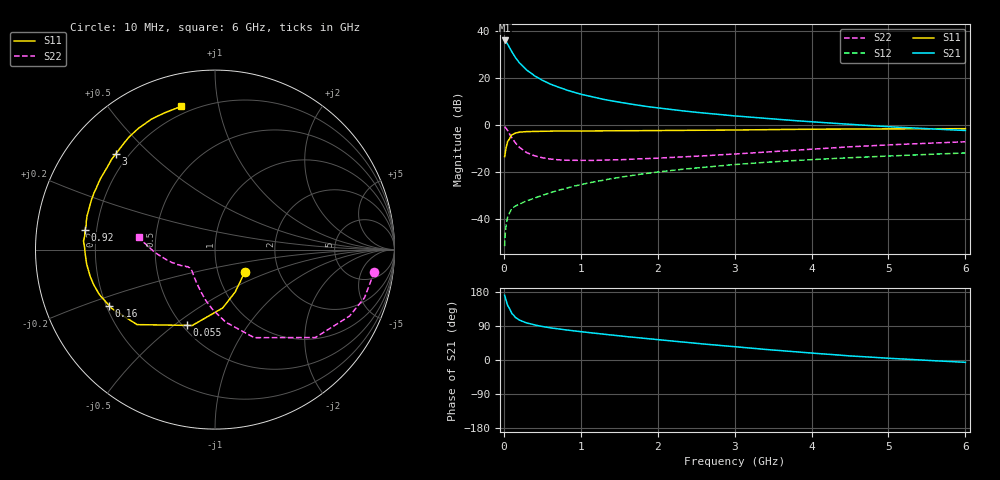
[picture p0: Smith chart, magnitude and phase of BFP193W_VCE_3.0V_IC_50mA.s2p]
! Infineon Technologies  Discrete & RF Semiconductors
! BFP193W
! VCE = 3.0 V,  IC =  50 mA
! Common Emitter S-Parameters:  Jan 2016
# GHz  S  MA  R  50
!  f  S11  S21  S12  S22
! GHz  MAG  ANG  MAG  ANG  MAG  ANG  MAG  ANG
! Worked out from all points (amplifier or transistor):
!   210 points, 10 MHz to 6 GHz, reference 50 ohm
!   highest |S21| = 35.8 dB at 10 MHz (marker M1)
!   |S21| within 3 dB of that: start of sweep to 72.76 MHz
!   unconditionally stable (mu >= 1): 580 MHz to 3.929 GHz
!   at 185 MHz: K = 0.56, MSG = 30.6 dB, |S12| = -34.1 dB
!   at 1.52 GHz: K = 1.13, MAG = 13.7 dB, |S12| = -22.3 dB
!   at 6 GHz: K = 0.94, MSG = 4.8 dB, |S12| = -12.0 dB
!   S11 on the Smith chart (normalised r, x): 10 MHz: 1.35, -0.35; 55 MHz: 0.52, -0.56; 160 MHz: 0.21, -0.24; 920 MHz: 0.16, +0.07; 3 GHz: 0.15, +0.39; 6 GHz: 0.16, +0.78
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0.01  0.2079 -36.7  61.72 171.0  0.0026 80.6  0.8963 -8.0
0.02  0.262 -64.6  60.17 163.8  0.0053 74.6  0.875 -17.9
0.03  0.328 -82.5  57.78 156.5  0.0072 72.0  0.836 -26.3
0.05  0.4413 -106.7  51.11 143.8  0.011 62.2  0.7437 -41.2
0.055  0.4507 -110.5  49.42 142.3  0.0115 60.4  0.7184 -43.0
0.1  0.6027 -136.1  36.23 123.5  0.016 48.9  0.5372 -66.0
0.15  0.6624 -150.4  26.73 112.2  0.0186 45.1  0.4085 -81.6
0.16  0.667 -152.1  25.53 111.1  0.0189 45.2  0.3923 -83.4
0.2  0.6914 -158.8  20.84 105.6  0.0202 45.8  0.3327 -92.5
0.26  0.7053 -164.8  16.52 100.3  0.0226 47.6  0.2795 -101.8
0.3  0.7113 -168.0  14.33 97.5  0.024 48.7  0.2527 -107.3
0.4  0.72 -173.8  10.89 92.3  0.0273 52.7  0.2171 -117.1
0.6  0.727 178.9  7.333 85.0  0.0355 57.5  0.186 -130.1
0.92  0.7321 171.3  4.836 76.7  0.0494 61.8  0.1742 -140.1
1.02  0.7309 169.2  4.363 74.4  0.0537 62.4  0.174 -142.2
1.4  0.7387 162.0  3.205 65.9  0.0708 62.8  0.1784 -147.0
2.02  0.7466 151.4  2.25 53.3  0.0991 60.4  0.1948 -151.5
3  0.7682 136.1  1.533 35.1  0.1416 53.7  0.2369 -161.1
3.1  0.7708 134.5  1.488 33.4  0.1456 52.9  0.2429 -162.1
4.1  0.8002 120.9  1.121 16.8  0.184 45.2  0.3075 -173.5
5.1  0.812 110.5  0.886 3.6  0.2184 38.2  0.377 176.7
6  0.82 103.3  0.751 -6.1  0.2501 32.5  0.4317 170.7
